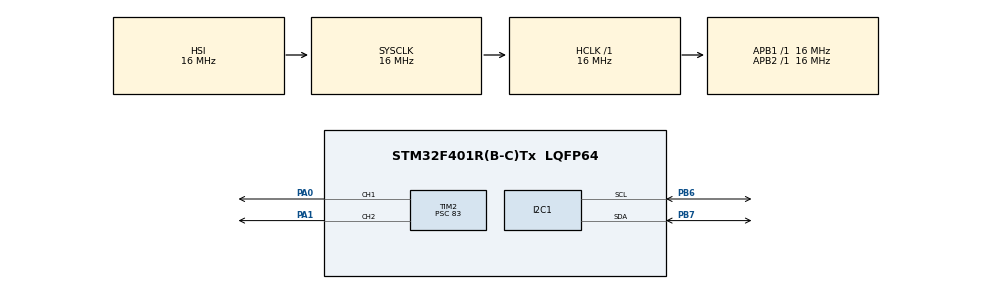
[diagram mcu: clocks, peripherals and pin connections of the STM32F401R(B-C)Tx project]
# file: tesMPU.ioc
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Mcu.Family=STM32F4
Mcu.Name=STM32F401R(B-C)Tx
Mcu.Package=LQFP64
NVIC.PriorityGroup=NVIC_PRIORITYGROUP_4
PA0-WKUP.Signal=S_TIM2_CH1_ETR
PA1.Signal=S_TIM2_CH2
PA13.Mode=Serial_Wire
PA13.Signal=SYS_JTMS-SWDIO
PA14.Mode=Serial_Wire
PA14.Signal=SYS_JTCK-SWCLK
PB6.Mode=I2C
PB6.Signal=I2C1_SCL
PB7.Mode=I2C
PB7.Signal=I2C1_SDA
PH0\ -\ OSC_IN.Mode=HSE-External-Oscillator
PH0\ -\ OSC_IN.Signal=RCC_OSC_IN
PH1\ -\ OSC_OUT.Mode=HSE-External-Oscillator
PH1\ -\ OSC_OUT.Signal=RCC_OSC_OUT
ProjectManager.HeapSize=0x200
ProjectManager.StackSize=0x400
ProjectManager.TargetToolchain=STM32CubeIDE
RCC.AHBFreq_Value=16000000
RCC.APB1Freq_Value=16000000
RCC.APB2Freq_Value=16000000
RCC.CortexFreq_Value=16000000
RCC.HSE_VALUE=25000000
RCC.HSI_VALUE=16000000
RCC.LSE_VALUE=32768
RCC.SYSCLKFreq_VALUE=16000000
RCC.VCOOutputFreq_Value=192000000
SH.S_TIM2_CH1_ETR.0=TIM2_CH1,PWM Generation1 CH1
SH.S_TIM2_CH2.0=TIM2_CH2,PWM Generation2 CH2
TIM2.Channel-PWM\ Generation1\ CH1=TIM_CHANNEL_1
TIM2.Channel-PWM\ Generation2\ CH2=TIM_CHANNEL_2
TIM2.Period=20000 - 1
TIM2.Prescaler=83
VP_TIM2_VS_ClockSourceINT.Mode=Internal
board=custom

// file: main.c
/* USER CODE BEGIN Header */
/**
  ******************************************************************************
  * @file           : main.c
  * @brief          : Hydrofoil Dual Servo PID
  ******************************************************************************
  */
/* USER CODE END Header */

#include <main.h>
#include <stdlib.h>

/* USER CODE BEGIN Includes */
#include <math.h>
/* USER CODE END Includes */

/* USER CODE BEGIN PD */
#define MPU6050_ADDR 0xD0
/* USER CODE END PD */

I2C_HandleTypeDef hi2c1;
TIM_HandleTypeDef htim2;

/* USER CODE BEGIN PV */
float angle_target = 0.0;
float pitch_flt = 0.0;

// PID
float Kp = 9.0;
float Ki = 0.1;
float Kd = 0.1;

float error, last_error = 0.0, integral = 0.0;
float pid_out;

// servo
int offset_kiri = -90;

// timing non blocking
uint32_t last_loop_time = 0;
uint32_t last_pid_time = 0;
/* USER CODE END PV */

void SystemClock_Config(void);
static void MX_GPIO_Init(void);
static void MX_I2C1_Init(void);
static void MX_TIM2_Init(void);

/* USER CODE BEGIN PFP */
void MPU6050_Init(void);
float MPU6050_GetPitch(void);
float Compute_PID(float target, float current);
/* USER CODE END PFP */

int main(void)
{
  HAL_Init();
  SystemClock_Config();

  HAL_Delay(2000);

  MX_GPIO_Init();
  MX_I2C1_Init();
  MX_TIM2_Init();

  HAL_TIM_PWM_Start(&htim2, TIM_CHANNEL_1); // servo kiri
  HAL_TIM_PWM_Start(&htim2, TIM_CHANNEL_2); // servo kanan

  __HAL_TIM_SET_COMPARE(&htim2, TIM_CHANNEL_1, 1500 + offset_kiri );
  __HAL_TIM_SET_COMPARE(&htim2, TIM_CHANNEL_2, 1500 );

  MPU6050_Init();

  while (1)
  {
    uint32_t current_time = HAL_GetTick();

    // Loop jalan secara non blocking tiap 20ms
    if (current_time - last_loop_time >= 20)
    {
      last_loop_time = current_time;

      float pitch_raw = MPU6050_GetPitch();
      pitch_flt = (0.85 * pitch_flt) + (0.15 * pitch_raw);

      // hitung PID
      pid_out = Compute_PID(angle_target, pitch_flt);

      // potong outp saat dekat dengan setpoint
      if (fabsf(angle_target - pitch_flt) < 0.5)
      {
        pid_out = 0.0;
        integral = 0.0;
      }

      int pwm_val = 1500 - (int)pid_out;

      //limitter
      if (pwm_val > 2000){
        pwm_val = 2000;
      }
      if (pwm_val < 1000){
        pwm_val = 1000;
      }

      //update pwm ke servo
      __HAL_TIM_SET_COMPARE(&htim2, TIM_CHANNEL_1, pwm_val + offset_kiri); // kiri
      __HAL_TIM_SET_COMPARE(&htim2, TIM_CHANNEL_2, pwm_val ); //kanan
    }
  }
}

void SystemClock_Config(void)
{
  RCC_OscInitTypeDef RCC_OscInitStruct = {0};
  RCC_ClkInitTypeDef RCC_ClkInitStruct = {0};

  __HAL_RCC_PWR_CLK_ENABLE();
  __HAL_PWR_VOLTAGESCALING_CONFIG(PWR_REGULATOR_VOLTAGE_SCALE2);

  RCC_OscInitStruct.OscillatorType = RCC_OSCILLATORTYPE_HSI;
  RCC_OscInitStruct.HSIState = RCC_HSI_ON;
  RCC_OscInitStruct.HSICalibrationValue = RCC_HSICALIBRATION_DEFAULT;
  RCC_OscInitStruct.PLL.PLLState = RCC_PLL_NONE;
  if (HAL_RCC_OscConfig(&RCC_OscInitStruct) != HAL_OK)
  {
    Error_Handler();
  }

  RCC_ClkInitStruct.ClockType = RCC_CLOCKTYPE_HCLK|RCC_CLOCKTYPE_SYSCLK
                              |RCC_CLOCKTYPE_PCLK1|RCC_CLOCKTYPE_PCLK2;
  RCC_ClkInitStruct.SYSCLKSource = RCC_SYSCLKSOURCE_HSI;
  RCC_ClkInitStruct.AHBCLKDivider = RCC_SYSCLK_DIV1;
  RCC_ClkInitStruct.APB1CLKDivider = RCC_HCLK_DIV1;
  RCC_ClkInitStruct.APB2CLKDivider = RCC_HCLK_DIV1;

  if (HAL_RCC_ClockConfig(&RCC_ClkInitStruct, FLASH_LATENCY_0) != HAL_OK)
  {
    Error_Handler();
  }
}

static void MX_I2C1_Init(void)
{
  hi2c1.Instance = I2C1;
  hi2c1.Init.ClockSpeed = 100000;
  hi2c1.Init.DutyCycle = I2C_DUTYCYCLE_2;
  hi2c1.Init.OwnAddress1 = 0;
  hi2c1.Init.AddressingMode = I2C_ADDRESSINGMODE_7BIT;
  hi2c1.Init.DualAddressMode = I2C_DUALADDRESS_DISABLE;
  hi2c1.Init.OwnAddress2 = 0;
  hi2c1.Init.GeneralCallMode = I2C_GENERALCALL_DISABLE;
  hi2c1.Init.NoStretchMode = I2C_NOSTRETCH_DISABLE;
  if (HAL_I2C_Init(&hi2c1) != HAL_OK)
  {
    Error_Handler();
  }
}

static void MX_TIM2_Init(void)
{
  TIM_ClockConfigTypeDef sClockSourceConfig = {0};
  TIM_MasterConfigTypeDef sMasterConfig = {0};
  TIM_OC_InitTypeDef sConfigOC = {0};

  htim2.Instance = TIM2;
  htim2.Init.Prescaler = 15;
  htim2.Init.CounterMode = TIM_COUNTERMODE_UP;
  htim2.Init.Period = 20000 - 1;
  htim2.Init.ClockDivision = TIM_CLOCKDIVISION_DIV1;
  htim2.Init.AutoReloadPreload = TIM_AUTORELOAD_PRELOAD_DISABLE;
  if (HAL_TIM_Base_Init(&htim2) != HAL_OK)
  {
    Error_Handler();
  }
  sClockSourceConfig.ClockSource = TIM_CLOCKSOURCE_INTERNAL;
  if (HAL_TIM_ConfigClockSource(&htim2, &sClockSourceConfig) != HAL_OK)
  {
    Error_Handler();
  }
  if (HAL_TIM_PWM_Init(&htim2) != HAL_OK)
  {
    Error_Handler();
  }
  sMasterConfig.MasterOutputTrigger = TIM_TRGO_RESET;
  sMasterConfig.MasterSlaveMode = TIM_MASTERSLAVEMODE_DISABLE;
  if (HAL_TIMEx_MasterConfigSynchronization(&htim2, &sMasterConfig) != HAL_OK)
  {
    Error_Handler();
  }

  sConfigOC.OCMode = TIM_OCMODE_PWM1;
  sConfigOC.Pulse = 0;
  sConfigOC.OCPolarity = TIM_OCPOLARITY_HIGH;
  sConfigOC.OCFastMode = TIM_OCFAST_DISABLE;

  if (HAL_TIM_PWM_ConfigChannel(&htim2, &sConfigOC, TIM_CHANNEL_1) != HAL_OK)
  {
    Error_Handler();
  }
  if (HAL_TIM_PWM_ConfigChannel(&htim2, &sConfigOC, TIM_CHANNEL_2) != HAL_OK)
  {
    Error_Handler();
  }

  HAL_TIM_MspPostInit(&htim2);
}

static void MX_GPIO_Init(void)
{
  __HAL_RCC_GPIOH_CLK_ENABLE();
  __HAL_RCC_GPIOA_CLK_ENABLE();
  __HAL_RCC_GPIOB_CLK_ENABLE();

  /* USER CODE BEGIN MX_GPIO_Init_2 */
  GPIO_InitTypeDef GPIO_InitStruct = {0};
  GPIO_InitStruct.Pin = GPIO_PIN_1;
  GPIO_InitStruct.Mode = GPIO_MODE_AF_PP;
  GPIO_InitStruct.Pull = GPIO_NOPULL;
  GPIO_InitStruct.Speed = GPIO_SPEED_FREQ_LOW;
  GPIO_InitStruct.Alternate = GPIO_AF1_TIM2;
  HAL_GPIO_Init(GPIOA, &GPIO_InitStruct);
  /* USER CODE END MX_GPIO_Init_2 */
}

/* USER CODE BEGIN 4 */
void MPU6050_Init(void)
{
  uint8_t check, data;

  HAL_I2C_Mem_Read(&hi2c1, MPU6050_ADDR, 0x75, 1, &check, 1, 1000);

  if (check == 0x68)
  {
    data = 0x00;
    HAL_I2C_Mem_Write(&hi2c1, MPU6050_ADDR, 0x6B, 1, &data, 1, 1000);
  }
}

// sudut
float MPU6050_GetPitch(void)
{
  uint8_t raw_buf[6];
  int16_t raw_ax, raw_ay, raw_az;
  float ax, ay, az;

  // baca reg akselerometer
  HAL_I2C_Mem_Read(&hi2c1, MPU6050_ADDR, 0x3B, 1, raw_buf, 6, 1000);

  raw_ax = (int16_t)(raw_buf[0] << 8 | raw_buf[1]);
  raw_ay = (int16_t)(raw_buf[2] << 8 | raw_buf[3]);
  raw_az = (int16_t)(raw_buf[4] << 8 | raw_buf[5]);

  ax = raw_ax / 16384.0;
  ay = raw_ay / 16384.0;
  az = raw_az / 16384.0;

  //sudut pitch ke derajat
  float pitch_deg = atan2f(-ax, sqrtf(ay * ay + az * az)) * (180.0 / M_PI);
  return pitch_deg;
}

//hitung PID
float Compute_PID(float target, float current)
{
  uint32_t now = HAL_GetTick();
  float dt = (now - last_pid_time) / 1000.0f;

  //proteksi jika loop berjalan terlalu cepat
  if (dt <= 0.0f) {
      dt = 0.02f;
  }

  last_pid_time = now;

  error = target - current;

  float p_val = Kp * error;

  integral += error * dt;
  float i_val = Ki * integral;

  float d_val = Kd * ((error - last_error) / dt);

  last_error = error;

  return p_val + i_val + d_val;
}
/* USER CODE END 4 */

void Error_Handler(void)
{
  __disable_irq();
  while (1)
  {
  }
}
